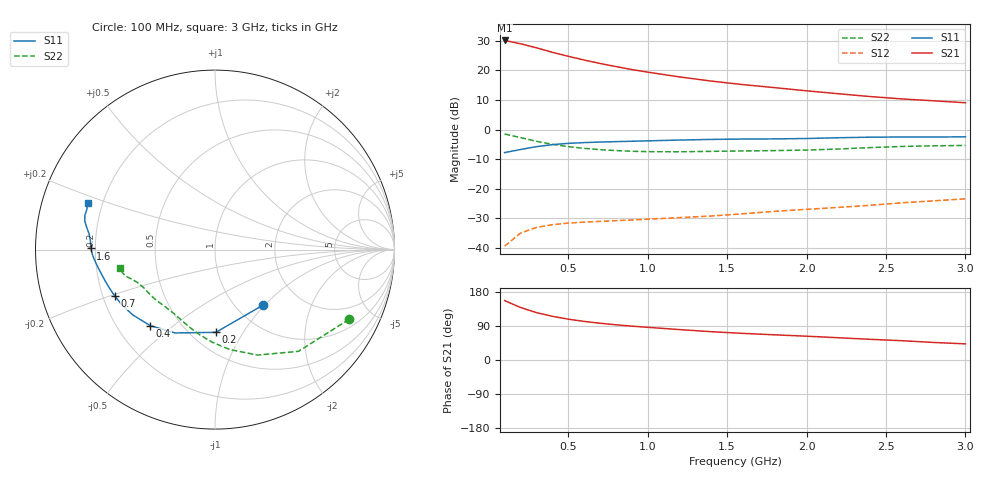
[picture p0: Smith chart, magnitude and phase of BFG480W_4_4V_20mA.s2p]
! Filename: 4_420BFG480.001
! Title: BFG480W
! Bias: Vce=4.4V; Ic=20mA
! Company: Philips Semiconductors NL
! User: Quality&Reliability T&D
! Measure time: 10 Nov 1999 / 12:05:26
#  MHz  S  MA  R 50
! Freq  S11  S21  S12  S22  :
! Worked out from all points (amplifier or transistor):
!   20 points, 100 MHz to 3 GHz, reference 50 ohm
!   highest |S21| = 30.1 dB at 100 MHz (marker M1)
!   |S21| within 3 dB of that: start of sweep to 334.8 MHz
!   unconditionally stable (mu >= 1): 1.349 GHz to end of sweep
!   at 400 MHz: K = 0.41, MSG = 29.1 dB, |S12| = -32.1 dB
!   at 1.2 GHz: K = 0.94, MSG = 23.8 dB, |S12| = -29.7 dB
!   at 3 GHz: K = 1.09, MAG = 14.4 dB, |S12| = -23.4 dB
!   S11 on the Smith chart (normalised r, x): 100 MHz: 1.31, -0.98; 200 MHz: 0.65, -0.77; 400 MHz: 0.34, -0.42; 700 MHz: 0.25, -0.21; 1.6 GHz: 0.18, +0.00; 3 GHz: 0.14, +0.17
100  0.4086 -49.5  31.97 156.7  0.01075 61.0  0.8417 -27.5
200  0.4609 -89.4  28.15 138.6  0.01791 52.4  0.7331 -50.6
300  0.5146 -115.5  24.06 125.1  0.02224 45.7  0.6336 -68.0
400  0.5567 -130.5  20.18 115.3  0.02474 41.7  0.5639 -81.3
500  0.5849 -141.5  17.29 107.8  0.02633 39.8  0.5154 -91.9
600  0.6027 -149.2  14.94 101.8  0.02738 39.1  0.482 -100.2
700  0.6157 -155.1  13.09 97.0  0.02818 39.6  0.4585 -107.0
800  0.6256 -159.8  11.58 92.9  0.02898 40.5  0.4417 -112.8
900  0.6351 -163.6  10.32 89.4  0.02973 42.2  0.4304 -117.9
1000  0.6452 -167.2  9.329 86.2  0.03071 44.0  0.4239 -122.6
1200  0.6652 -172.9  7.749 80.3  0.03259 47.7  0.4221 -130.7
1400  0.6819 -177.1  6.594 74.7  0.03473 51.5  0.4288 -137.1
1600  0.6921 179.5  5.746 70.2  0.03785 55.5  0.4357 -142.0
1800  0.6958 176.0  5.102 66.4  0.04166 59.3  0.4419 -146.8
2000  0.7068 172.8  4.513 62.8  0.04501 62.4  0.4509 -152.1
2200  0.7279 169.8  4.027 58.7  0.04849 64.7  0.4695 -157.1
2400  0.7439 167.4  3.611 54.6  0.05266 66.2  0.4959 -160.9
2600  0.7497 165.3  3.294 50.9  0.05803 67.4  0.5187 -163.4
2800  0.7484 162.7  3.06 46.3  0.06262 67.4  0.531 -165.9
3000  0.7544 159.8  2.837 42.6  0.06771 67.9  0.5402 -169.3
